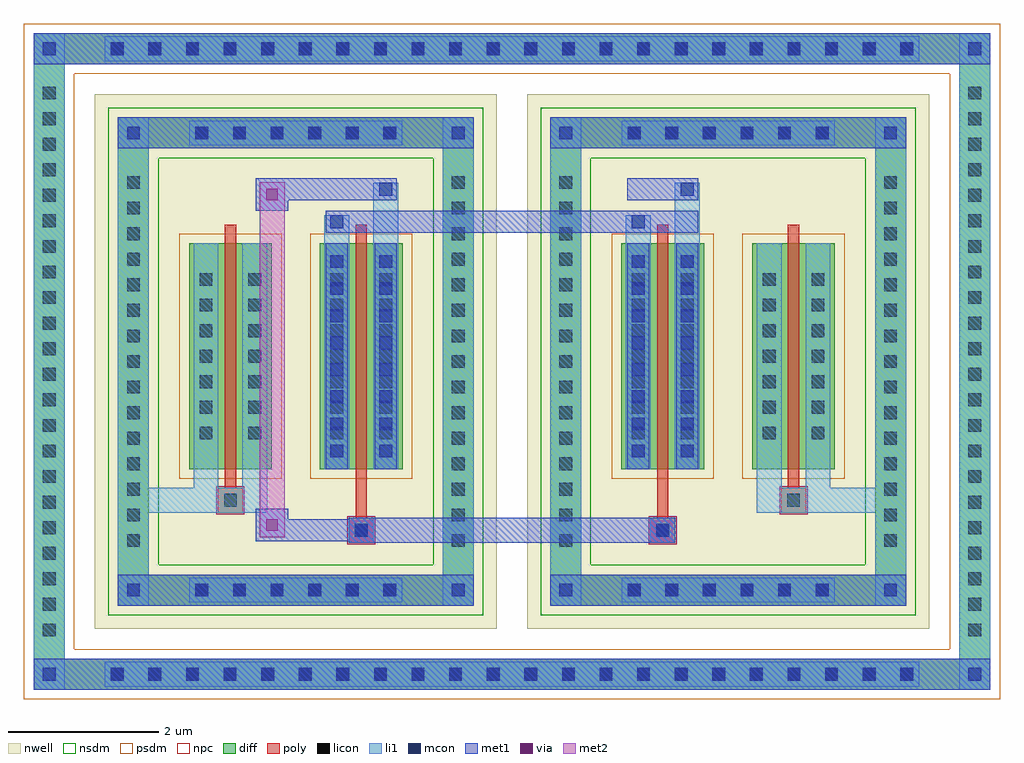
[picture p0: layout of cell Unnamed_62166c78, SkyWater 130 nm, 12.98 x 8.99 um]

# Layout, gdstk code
import gdstk
lib = gdstk.Library(unit=1e-6, precision=5e-09)
def R(c, l, rs):  # rectangles x0, y0, x1, y1
    for r in rs: c.add(gdstk.rectangle(r[:2], r[2:], *l))
def A(c, l, x, y, w, h, nx, ny, dx, dy):  # array of equal rectangles
    R(c, l, [(x+i*dx, y+j*dy, x+i*dx+w, y+j*dy+h) for i in range(nx) for j in range(ny)])
def P(c, l, *ps):  # polygons
    for p in ps: c.add(gdstk.Polygon(p, *l))
nwell = (64, 20)
diff = (65, 20)
poly = (66, 20)
licon = (66, 44)
li1 = (67, 20)
mcon = (67, 44)
met1 = (68, 20)
via = (68, 44)
met2 = (69, 20)
nsdm = (93, 44)
psdm = (94, 20)
npc = (95, 20)

unnamed_0ae08a67 = lib.new_cell('Unnamed_0ae08a67')
R(unnamed_0ae08a67, nwell, [(-2.675,-3.555,2.675,3.555)])
A(unnamed_0ae08a67, diff, -1.455, -3.245, 0.41, 0.41, 6, 2, 0.5, 6.08)
A(unnamed_0ae08a67, diff, -2.365, -2.585, 0.41, 0.41, 1, 15, 0, 0.34)
A(unnamed_0ae08a67, diff, 1.955, -2.585, 0.41, 0.41, 1, 15, 0, 0.34)
R(unnamed_0ae08a67, diff, [(-1.455,-3.245,1.455,-2.835), (-2.365,-2.585,-1.955,2.585), (1.955,-2.585,2.365,2.585), (-1.42,-1.43,-0.32,1.57), (0.32,-1.43,1.42,1.57), (-1.455,2.835,1.455,3.245)])
P(unnamed_0ae08a67, diff, [(2.365,3.245),(-2.365,3.245),(-2.365,-2.835),(-1.955,-2.835),(-1.955,2.835),(1.955,2.835),(1.955,-2.835),(-1.955,-2.835),(-2.365,-2.835),(-2.365,-3.245),(2.365,-3.245)])
R(unnamed_0ae08a67, poly, [(0.705,-2.41,1.035,-2.08), (0.705,-2.41,1.035,-2.08), (0.795,-2.08,0.945,-1.68), (-1.035,-2.01,-0.705,-1.68), (-1.035,-2.01,-0.705,-1.68), (-0.945,-1.68,-0.795,1.82), (0.795,-1.68,0.945,1.82)])
A(unnamed_0ae08a67, licon, -1.335, -3.125, 0.17, 0.17, 6, 2, 0.5, 6.08)
A(unnamed_0ae08a67, licon, -2.245, -2.465, 0.17, 0.17, 1, 15, 0, 0.34)
A(unnamed_0ae08a67, licon, 2.075, -2.465, 0.17, 0.17, 1, 15, 0, 0.34)
A(unnamed_0ae08a67, licon, -1.28, -1.035, 0.17, 0.17, 1, 7, 0, 0.34)
A(unnamed_0ae08a67, licon, -0.63, -1.035, 0.17, 0.17, 1, 7, 0, 0.34)
A(unnamed_0ae08a67, licon, 0.46, -1.035, 0.17, 0.17, 1, 7, 0, 0.34)
A(unnamed_0ae08a67, licon, 1.11, -1.035, 0.17, 0.17, 1, 7, 0, 0.34)
R(unnamed_0ae08a67, licon, [(0.785,-2.33,0.955,-2.16), (-0.955,-1.93,-0.785,-1.76)])
A(unnamed_0ae08a67, li1, -1.415, -3.205, 0.33, 0.33, 6, 2, 0.5, 6.08)
A(unnamed_0ae08a67, li1, -2.325, -2.545, 0.33, 0.33, 1, 15, 0, 0.34)
A(unnamed_0ae08a67, li1, 1.995, -2.545, 0.33, 0.33, 1, 15, 0, 0.34)
A(unnamed_0ae08a67, li1, 0.46, -1.275, 0.17, 0.17, 1, 8, 0, 0.36)
A(unnamed_0ae08a67, li1, 1.11, -1.275, 0.17, 0.17, 1, 8, 0, 0.36)
A(unnamed_0ae08a67, li1, -1.36, -1.115, 0.33, 0.33, 1, 7, 0, 0.34)
A(unnamed_0ae08a67, li1, -0.71, -1.115, 0.33, 0.33, 1, 7, 0, 0.34)
A(unnamed_0ae08a67, li1, 0.38, -1.115, 0.33, 0.33, 1, 7, 0, 0.34)
A(unnamed_0ae08a67, li1, 1.03, -1.115, 0.33, 0.33, 1, 7, 0, 0.34)
R(unnamed_0ae08a67, li1, [(-2.365,-3.245,-1.955,-2.835), (1.955,-3.245,2.365,-2.835), (-1.415,-3.205,1.415,-2.875), (-2.245,-3.125,-2.075,-2.955), (-2.245,-3.125,-2.075,-2.955), (2.075,-3.125,2.245,-2.955), (2.075,-3.125,2.245,-2.955), (-2.365,-2.835,-1.955,2.835), (1.955,-2.835,2.365,2.835), (0.705,-2.41,1.035,-2.08), (-2.365,-2.01,-1.035,-1.68), (-1.36,-2.01,-1.035,-1.68), (-1.36,-2.01,-1.03,-1.43), (-1.035,-2.01,-0.705,-1.68), (-0.71,-2.01,-0.38,-1.43), (-0.705,-2.01,-0.38,-1.68), (-1.36,-1.43,-1.03,1.57), (-0.71,-1.43,-0.38,1.57), (0.38,-1.43,0.71,1.57), (1.03,-1.43,1.36,1.57), (0.46,-1.275,0.63,1.415), (1.11,-1.275,1.28,1.415), (0.38,1.57,0.71,1.945), (1.03,1.57,1.36,2.375), (0.46,1.775,0.63,1.945), (1.11,2.205,1.28,2.375), (-2.365,2.835,-1.955,3.245), (1.955,2.835,2.365,3.245), (-1.415,2.875,1.415,3.205), (-2.245,2.955,-2.075,3.125), (-2.245,2.955,-2.075,3.125), (2.075,2.955,2.245,3.125), (2.075,2.955,2.245,3.125)])
A(unnamed_0ae08a67, mcon, -1.335, -3.125, 0.17, 0.17, 6, 2, 0.5, 6.08)
A(unnamed_0ae08a67, mcon, 0.46, -1.275, 0.17, 0.17, 1, 8, 0, 0.36)
A(unnamed_0ae08a67, mcon, 1.11, -1.275, 0.17, 0.17, 1, 8, 0, 0.36)
R(unnamed_0ae08a67, mcon, [(-2.245,-3.125,-2.075,-2.955), (2.075,-3.125,2.245,-2.955), (0.785,-2.33,0.955,-2.16), (0.46,1.775,0.63,1.945), (1.11,2.205,1.28,2.375), (-2.245,2.955,-2.075,3.125), (2.075,2.955,2.245,3.125)])
A(unnamed_0ae08a67, met1, -1.395, -3.185, 0.29, 0.29, 6, 2, 0.5, 6.08)
A(unnamed_0ae08a67, met1, 0.4, -1.335, 0.29, 0.29, 1, 8, 0, 0.36)
A(unnamed_0ae08a67, met1, 1.05, -1.335, 0.29, 0.29, 1, 8, 0, 0.36)
R(unnamed_0ae08a67, met1, [(-2.365,-3.245,-1.955,-2.835), (-2.365,-3.245,-1.955,-2.835), (-1.955,-3.245,1.955,-2.835), (1.955,-3.245,2.365,-2.835), (1.955,-3.245,2.365,-2.835), (-2.305,-3.185,-2.015,-2.895), (2.015,-3.185,2.305,-2.895), (0.705,-2.41,1.035,-2.08), (0.725,-2.39,1.015,-2.1), (0.4,-1.43,0.69,1.57), (1.05,-1.43,1.34,1.57), (0.4,1.715,0.69,2.005), (0.4,1.715,1.34,2.005), (0.4,2.145,1.34,2.435), (1.05,2.145,1.34,2.435), (-2.365,2.835,-1.955,3.245), (-2.365,2.835,-1.955,3.245), (-1.955,2.835,1.955,3.245), (1.955,2.835,2.365,3.245), (1.955,2.835,2.365,3.245), (-2.305,2.895,-2.015,3.185), (2.015,2.895,2.305,3.185)])
P(unnamed_0ae08a67, nsdm, [(2.495,3.375),(-2.495,3.375),(-2.495,-2.705),(-1.825,-2.705),(-1.825,2.705),(1.825,2.705),(1.825,-2.705),(-1.825,-2.705),(-2.495,-2.705),(-2.495,-3.375),(2.495,-3.375)])
R(unnamed_0ae08a67, psdm, [(-1.55,-1.56,-0.19,1.7), (0.19,-1.56,1.55,1.7)])
R(unnamed_0ae08a67, npc, [(0.685,-2.43,1.055,-2.06), (-1.055,-2.03,-0.685,-1.66)])

unnamed_e244c527 = lib.new_cell('Unnamed_e244c527')
R(unnamed_e244c527, nwell, [(-2.675,-3.555,2.675,3.555)])
A(unnamed_e244c527, diff, -1.455, -3.245, 0.41, 0.41, 6, 2, 0.5, 6.08)
A(unnamed_e244c527, diff, -2.365, -2.585, 0.41, 0.41, 1, 15, 0, 0.34)
A(unnamed_e244c527, diff, 1.955, -2.585, 0.41, 0.41, 1, 15, 0, 0.34)
R(unnamed_e244c527, diff, [(-1.455,-3.245,1.455,-2.835), (-2.365,-2.585,-1.955,2.585), (1.955,-2.585,2.365,2.585), (-1.42,-1.43,-0.32,1.57), (0.32,-1.43,1.42,1.57), (-1.455,2.835,1.455,3.245)])
P(unnamed_e244c527, diff, [(2.365,3.245),(-2.365,3.245),(-2.365,-2.835),(-1.955,-2.835),(-1.955,2.835),(1.955,2.835),(1.955,-2.835),(-1.955,-2.835),(-2.365,-2.835),(-2.365,-3.245),(2.365,-3.245)])
R(unnamed_e244c527, poly, [(-1.035,-2.41,-0.705,-2.08), (-1.035,-2.41,-0.705,-2.08), (-0.945,-2.08,-0.795,-1.68), (0.705,-2.01,1.035,-1.68), (0.705,-2.01,1.035,-1.68), (-0.945,-1.68,-0.795,1.82), (0.795,-1.68,0.945,1.82)])
A(unnamed_e244c527, licon, -1.335, -3.125, 0.17, 0.17, 6, 2, 0.5, 6.08)
A(unnamed_e244c527, licon, -2.245, -2.465, 0.17, 0.17, 1, 15, 0, 0.34)
A(unnamed_e244c527, licon, 2.075, -2.465, 0.17, 0.17, 1, 15, 0, 0.34)
A(unnamed_e244c527, licon, -1.28, -1.035, 0.17, 0.17, 1, 7, 0, 0.34)
A(unnamed_e244c527, licon, -0.63, -1.035, 0.17, 0.17, 1, 7, 0, 0.34)
A(unnamed_e244c527, licon, 0.46, -1.035, 0.17, 0.17, 1, 7, 0, 0.34)
A(unnamed_e244c527, licon, 1.11, -1.035, 0.17, 0.17, 1, 7, 0, 0.34)
R(unnamed_e244c527, licon, [(-0.955,-2.33,-0.785,-2.16), (0.785,-1.93,0.955,-1.76)])
A(unnamed_e244c527, li1, -1.415, -3.205, 0.33, 0.33, 6, 2, 0.5, 6.08)
A(unnamed_e244c527, li1, -2.325, -2.545, 0.33, 0.33, 1, 15, 0, 0.34)
A(unnamed_e244c527, li1, 1.995, -2.545, 0.33, 0.33, 1, 15, 0, 0.34)
A(unnamed_e244c527, li1, -1.28, -1.275, 0.17, 0.17, 1, 8, 0, 0.36)
A(unnamed_e244c527, li1, -0.63, -1.275, 0.17, 0.17, 1, 8, 0, 0.36)
A(unnamed_e244c527, li1, -1.36, -1.115, 0.33, 0.33, 1, 7, 0, 0.34)
A(unnamed_e244c527, li1, -0.71, -1.115, 0.33, 0.33, 1, 7, 0, 0.34)
A(unnamed_e244c527, li1, 0.38, -1.115, 0.33, 0.33, 1, 7, 0, 0.34)
A(unnamed_e244c527, li1, 1.03, -1.115, 0.33, 0.33, 1, 7, 0, 0.34)
R(unnamed_e244c527, li1, [(-2.365,-3.245,-1.955,-2.835), (1.955,-3.245,2.365,-2.835), (-1.415,-3.205,1.415,-2.875), (-2.245,-3.125,-2.075,-2.955), (-2.245,-3.125,-2.075,-2.955), (2.075,-3.125,2.245,-2.955), (2.075,-3.125,2.245,-2.955), (-2.365,-2.835,-1.955,2.835), (1.955,-2.835,2.365,2.835), (-1.035,-2.41,-0.705,-2.08), (0.38,-2.01,0.705,-1.68), (0.38,-2.01,0.71,-1.43), (0.705,-2.01,1.035,-1.68), (0.705,-2.01,2.365,-1.68), (1.03,-2.01,1.36,-1.43), (1.035,-2.01,1.36,-1.68), (-1.36,-1.43,-1.03,1.57), (-0.71,-1.43,-0.38,1.57), (0.38,-1.43,0.71,1.57), (1.03,-1.43,1.36,1.57), (-1.28,-1.275,-1.11,1.415), (-0.63,-1.275,-0.46,1.415), (-1.36,1.57,-1.03,1.945), (-0.71,1.57,-0.38,2.375), (-1.28,1.775,-1.11,1.945), (-0.63,2.205,-0.46,2.375), (-2.365,2.835,-1.955,3.245), (1.955,2.835,2.365,3.245), (-1.415,2.875,1.415,3.205), (-2.245,2.955,-2.075,3.125), (-2.245,2.955,-2.075,3.125), (2.075,2.955,2.245,3.125), (2.075,2.955,2.245,3.125)])
A(unnamed_e244c527, mcon, -1.335, -3.125, 0.17, 0.17, 6, 2, 0.5, 6.08)
A(unnamed_e244c527, mcon, -1.28, -1.275, 0.17, 0.17, 1, 8, 0, 0.36)
A(unnamed_e244c527, mcon, -0.63, -1.275, 0.17, 0.17, 1, 8, 0, 0.36)
R(unnamed_e244c527, mcon, [(-2.245,-3.125,-2.075,-2.955), (2.075,-3.125,2.245,-2.955), (-0.955,-2.33,-0.785,-2.16), (-1.28,1.775,-1.11,1.945), (-0.63,2.205,-0.46,2.375), (-2.245,2.955,-2.075,3.125), (2.075,2.955,2.245,3.125)])
A(unnamed_e244c527, met1, -1.395, -3.185, 0.29, 0.29, 6, 2, 0.5, 6.08)
A(unnamed_e244c527, met1, -1.34, -1.335, 0.29, 0.29, 1, 8, 0, 0.36)
A(unnamed_e244c527, met1, -0.69, -1.335, 0.29, 0.29, 1, 8, 0, 0.36)
R(unnamed_e244c527, met1, [(-2.365,-3.245,-1.955,-2.835), (-2.365,-3.245,-1.955,-2.835), (-1.955,-3.245,1.955,-2.835), (1.955,-3.245,2.365,-2.835), (1.955,-3.245,2.365,-2.835), (-2.305,-3.185,-2.015,-2.895), (2.015,-3.185,2.305,-2.895), (-1.035,-2.41,-0.705,-2.08), (-1.015,-2.39,-0.725,-2.1), (-1.34,-1.43,-1.05,1.57), (-0.69,-1.43,-0.4,1.57), (-1.34,1.715,-1.05,2.005), (-1.34,1.715,-0.4,2.005), (-1.34,2.145,-0.4,2.435), (-0.69,2.145,-0.4,2.435), (-2.365,2.835,-1.955,3.245), (-2.365,2.835,-1.955,3.245), (-1.955,2.835,1.955,3.245), (1.955,2.835,2.365,3.245), (1.955,2.835,2.365,3.245), (-2.305,2.895,-2.015,3.185), (2.015,2.895,2.305,3.185)])
P(unnamed_e244c527, nsdm, [(2.495,3.375),(-2.495,3.375),(-2.495,-2.705),(-1.825,-2.705),(-1.825,2.705),(1.825,2.705),(1.825,-2.705),(-1.825,-2.705),(-2.495,-2.705),(-2.495,-3.375),(2.495,-3.375)])
R(unnamed_e244c527, psdm, [(-1.55,-1.56,-0.19,1.7), (0.19,-1.56,1.55,1.7)])
R(unnamed_e244c527, npc, [(-1.055,-2.43,-0.685,-2.06), (0.685,-2.03,1.055,-1.66)])

straight_route_a6f6e60f_ = lib.new_cell('straight_route_a6f6e60f$1')
R(straight_route_a6f6e60f_, met1, [(1.34,1.715,4.41,2.005)])

straight_route_2f308168_ = lib.new_cell('straight_route_2f308168$1')
R(straight_route_2f308168_, met1, [(1.035,-2.41,4.715,-2.08)])

c_route_4d43b0d4_1 = lib.new_cell('c_route_4d43b0d4$1')
R(c_route_4d43b0d4_1, met1, [(-0.53,-2.39,-0.1,-1.96), (-0.53,-2.39,0.705,-2.1), (-0.53,2.005,-0.1,2.435), (-0.53,2.145,0.4,2.435)])
R(c_route_4d43b0d4_1, via, [(-0.39,-2.25,-0.24,-2.1), (-0.39,2.145,-0.24,2.295)])
R(c_route_4d43b0d4_1, met2, [(-0.48,-2.34,-0.15,-2.01), (-0.48,-2.34,-0.15,2.385), (-0.48,2.055,-0.15,2.385)])
P(c_route_4d43b0d4_1, met2, [(-0.15,-2.34),(-0.15,-2.34),(-0.15,-2.01),(-0.15,-2.01)],
  [(-0.15,2.055),(-0.15,2.055),(-0.15,2.385),(-0.15,2.385)])

unnamed_9784b2de_1 = lib.new_cell('Unnamed_9784b2de$1')
A(unnamed_9784b2de_1, diff, -5.455, -4.365, 0.41, 0.41, 22, 2, 0.5, 8.32)
A(unnamed_9784b2de_1, diff, -6.36, -3.775, 0.41, 0.41, 1, 22, 0, 0.34)
A(unnamed_9784b2de_1, diff, 5.95, -3.775, 0.41, 0.41, 1, 22, 0, 0.34)
R(unnamed_9784b2de_1, diff, [(-5.455,-4.365,5.455,-3.955), (-6.36,-3.775,-5.95,3.775), (5.95,-3.775,6.36,3.775), (-5.455,3.955,5.455,4.365)])
P(unnamed_9784b2de_1, diff, [(6.36,4.365),(-6.36,4.365),(-6.36,-3.955),(-5.95,-3.955),(-5.95,3.955),(5.95,3.955),(5.95,-3.955),(-5.95,-3.955),(-6.36,-3.955),(-6.36,-4.365),(6.36,-4.365)])
A(unnamed_9784b2de_1, licon, -5.335, -4.245, 0.17, 0.17, 22, 2, 0.5, 8.32)
A(unnamed_9784b2de_1, licon, -6.24, -3.655, 0.17, 0.17, 1, 22, 0, 0.34)
A(unnamed_9784b2de_1, licon, 6.07, -3.655, 0.17, 0.17, 1, 22, 0, 0.34)
A(unnamed_9784b2de_1, li1, -5.415, -4.325, 0.33, 0.33, 22, 2, 0.5, 8.32)
A(unnamed_9784b2de_1, li1, -6.32, -3.735, 0.33, 0.33, 1, 22, 0, 0.34)
A(unnamed_9784b2de_1, li1, 5.99, -3.735, 0.33, 0.33, 1, 22, 0, 0.34)
R(unnamed_9784b2de_1, li1, [(-6.36,-4.365,-5.95,-3.955), (5.95,-4.365,6.36,-3.955), (-5.415,-4.325,5.415,-3.995), (-6.24,-4.245,-6.07,-4.075), (-6.24,-4.245,-6.07,-4.075), (6.07,-4.245,6.24,-4.075), (6.07,-4.245,6.24,-4.075), (-6.36,-3.955,-5.95,3.955), (5.95,-3.955,6.36,3.955), (-6.36,3.955,-5.95,4.365), (5.95,3.955,6.36,4.365), (-5.415,3.995,5.415,4.325), (-6.24,4.075,-6.07,4.245), (-6.24,4.075,-6.07,4.245), (6.07,4.075,6.24,4.245), (6.07,4.075,6.24,4.245)])
A(unnamed_9784b2de_1, mcon, -5.335, -4.245, 0.17, 0.17, 22, 2, 0.5, 8.32)
R(unnamed_9784b2de_1, mcon, [(-6.24,-4.245,-6.07,-4.075), (6.07,-4.245,6.24,-4.075), (-6.24,4.075,-6.07,4.245), (6.07,4.075,6.24,4.245)])
A(unnamed_9784b2de_1, met1, -5.395, -4.305, 0.29, 0.29, 22, 2, 0.5, 8.32)
R(unnamed_9784b2de_1, met1, [(-6.36,-4.365,-5.95,-3.955), (-6.36,-4.365,-5.95,-3.955), (-5.95,-4.365,5.95,-3.955), (5.95,-4.365,6.36,-3.955), (5.95,-4.365,6.36,-3.955), (-6.3,-4.305,-6.01,-4.015), (6.01,-4.305,6.3,-4.015), (-6.36,3.955,-5.95,4.365), (-6.36,3.955,-5.95,4.365), (-5.95,3.955,5.95,4.365), (5.95,3.955,6.36,4.365), (5.95,3.955,6.36,4.365), (-6.3,4.015,-6.01,4.305), (6.01,4.015,6.3,4.305)])
P(unnamed_9784b2de_1, psdm, [(6.49,4.495),(-6.49,4.495),(-6.49,-3.825),(-5.82,-3.825),(-5.82,3.825),(5.82,3.825),(5.82,-3.825),(-5.82,-3.825),(-6.49,-3.825),(-6.49,-4.495),(6.49,-4.495)])

unnamed_62166c78 = lib.new_cell('Unnamed_62166c78')
unnamed_62166c78.add(gdstk.Reference(unnamed_0ae08a67, (0,0)))
unnamed_62166c78.add(gdstk.Reference(unnamed_e244c527, (5.75,0)))
unnamed_62166c78.add(gdstk.Reference(straight_route_a6f6e60f_, (0,0)))
unnamed_62166c78.add(gdstk.Reference(straight_route_2f308168_, (0,0)))
unnamed_62166c78.add(gdstk.Reference(c_route_4d43b0d4_1, (0,0)))
unnamed_62166c78.add(gdstk.Reference(unnamed_9784b2de_1, (2.875,0)))

lib.write_gds('Unnamed_62166c78.gds')
